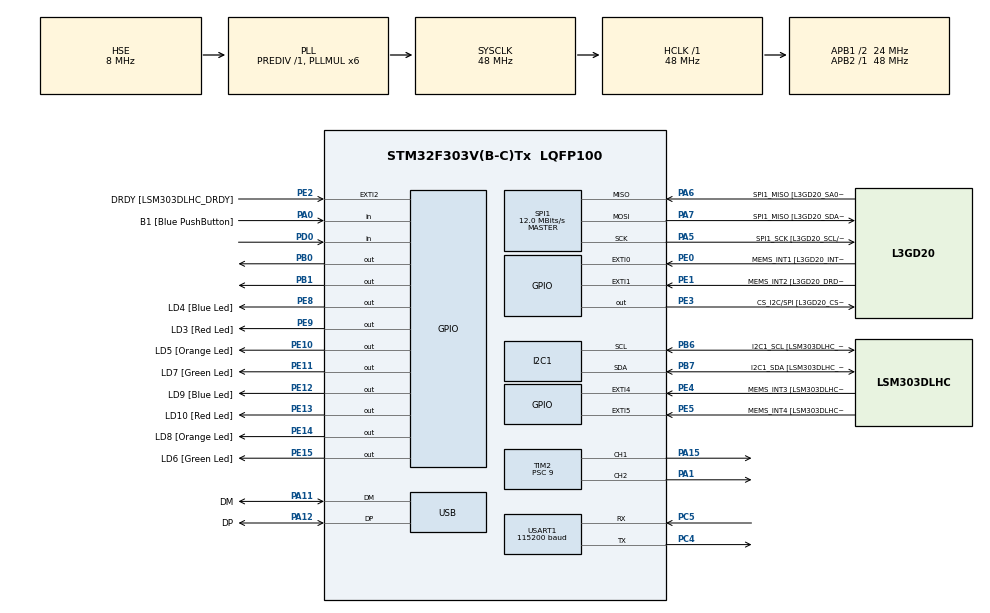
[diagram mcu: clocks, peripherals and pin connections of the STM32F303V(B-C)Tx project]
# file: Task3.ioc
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I2C1.Timing=0x2000090E
I2C1.Timing-I2C=0x2000090E
Mcu.Family=STM32F3
Mcu.Name=STM32F303V(B-C)Tx
Mcu.Package=LQFP100
NVIC.PriorityGroup=NVIC_PRIORITYGROUP_0
PA0.GPIO_Label=B1 [Blue PushButton]
PA0.Signal=GPIO_Input
PA1.Signal=S_TIM2_CH2
PA11.GPIO_Label=DM
PA11.Mode=Device
PA11.Signal=USB_DM
PA12.GPIO_Label=DP
PA12.Mode=Device
PA12.Signal=USB_DP
PA13.GPIO_Label=SWDIO
PA13.Mode=Serial_Wire
PA13.Signal=SYS_JTMS-SWDIO
PA14.GPIO_Label=SWCLK
PA14.Mode=Serial_Wire
PA14.Signal=SYS_JTCK-SWCLK
PA15.Signal=S_TIM2_CH1_ETR
PA5.GPIO_Label=SPI1_SCK [L3GD20_SCL/SPC]
PA5.Mode=Full_Duplex_Master
PA5.Signal=SPI1_SCK
PA6.GPIO_Label=SPI1_MISO [L3GD20_SA0/SDO]
PA6.Mode=Full_Duplex_Master
PA6.Signal=SPI1_MISO
PA7.GPIO_Label=SPI1_MISO [L3GD20_SDA/SDI/SDO]
PA7.Mode=Full_Duplex_Master
PA7.Signal=SPI1_MOSI
PB0.Signal=GPIO_Output
PB1.Signal=GPIO_Output
PB3.GPIO_Label=SWO
PB3.Signal=SYS_JTDO-TRACESWO
PB6.GPIO_Label=I2C1_SCL [LSM303DLHC_SCL]
PB6.GPIO_Pu=GPIO_PULLUP
PB6.Mode=I2C
PB6.Signal=I2C1_SCL
PB7.GPIO_Label=I2C1_SDA [LSM303DLHC_SDA]
PB7.GPIO_Pu=GPIO_PULLUP
PB7.Mode=I2C
PB7.Signal=I2C1_SDA
PC14-OSC32_IN.GPIO_Label=OSC32_IN
PC14-OSC32_IN.Signal=RCC_OSC32_IN
PC15-OSC32_OUT.GPIO_Label=OSC32_OUT
PC15-OSC32_OUT.Signal=RCC_OSC32_OUT
PC4.Mode=Asynchronous
PC4.Signal=USART1_TX
PC5.Mode=Asynchronous
PC5.Signal=USART1_RX
PD0.Signal=GPIO_Input
PE0.GPIO_Label=MEMS_INT1 [L3GD20_INT1]
PE0.GPIO_ModeDefaultEXTI=GPIO_MODE_EVT_RISING
PE0.Signal=GPXTI0
PE1.GPIO_Label=MEMS_INT2 [L3GD20_DRDY/INT2]
PE1.GPIO_ModeDefaultEXTI=GPIO_MODE_EVT_RISING
PE1.Signal=GPXTI1
PE10.GPIO_Label=LD5 [Orange Led]
PE10.Signal=GPIO_Output
PE11.GPIO_Label=LD7 [Green Led]
PE11.Signal=GPIO_Output
PE12.GPIO_Label=LD9 [Blue Led]
PE12.Signal=GPIO_Output
PE13.GPIO_Label=LD10 [Red Led]
PE13.Signal=GPIO_Output
PE14.GPIO_Label=LD8 [Orange Led]
PE14.Signal=GPIO_Output
PE15.GPIO_Label=LD6 [Green Led]
PE15.Signal=GPIO_Output
PE2.GPIO_Label=DRDY [LSM303DLHC_DRDY]
PE2.GPIO_ModeDefaultEXTI=GPIO_MODE_EVT_RISING
PE2.Signal=GPXTI2
PE3.GPIO_Label=CS_I2C/SPI [L3GD20_CS_I2C/SPI]
PE3.Signal=GPIO_Output
PE4.GPIO_Label=MEMS_INT3 [LSM303DLHC_INT1]
PE4.GPIO_ModeDefaultEXTI=GPIO_MODE_EVT_RISING
PE4.Signal=GPXTI4
PE5.GPIO_Label=MEMS_INT4 [LSM303DLHC_INT2]
PE5.GPIO_ModeDefaultEXTI=GPIO_MODE_EVT_RISING
PE5.Signal=GPXTI5
PE8.GPIO_Label=LD4 [Blue Led]
PE8.Signal=GPIO_Output
PE9.GPIO_Label=LD3 [Red Led]
PE9.Signal=GPIO_Output
PF0-OSC_IN.GPIO_Label=OSC_IN
PF0-OSC_IN.Mode=HSE-External-Clock-Source
PF0-OSC_IN.Signal=RCC_OSC_IN
PF1-OSC_OUT.GPIO_Label=OSC_OUT
PF1-OSC_OUT.Signal=RCC_OSC_OUT
ProjectManager.HeapSize=0x200
ProjectManager.StackSize=0x400
ProjectManager.TargetToolchain=CMake
RCC.AHBFreq_Value=48000000
RCC.APB1CLKDivider=RCC_HCLK_DIV2
RCC.APB1Freq_Value=24000000
RCC.APB1TimFreq_Value=48000000
RCC.APB2Freq_Value=48000000
RCC.APB2TimFreq_Value=48000000
RCC.CortexFreq_Value=48000000
RCC.HCLKFreq_Value=48000000
RCC.HSE_VALUE=8000000
RCC.HSI_VALUE=8000000
RCC.LSE_VALUE=32768
RCC.PLLMUL=RCC_PLL_MUL6
RCC.SYSCLKFreq_VALUE=48000000
RCC.SYSCLKSourceVirtual=RCC_SYSCLKSOURCE_PLLCLK
RCC.USBFreq_Value=48000000
SH.S_TIM2_CH1_ETR.0=TIM2_CH1,PWM Generation1 CH1
SH.S_TIM2_CH2.0=TIM2_CH2,PWM Generation2 CH2
SPI1.BaudRatePrescaler=SPI_BAUDRATEPRESCALER_4
SPI1.BaudRatePrescaler-Full_Duplex_Master=SPI_BAUDRATEPRESCALER_2
SPI1.CalculateBaudRate=12.0 MBits/s
SPI1.CalculateBaudRate-Full_Duplex_Master=24.0 MBits/s
SPI1.Direction=SPI_DIRECTION_2LINES
SPI1.Mode=SPI_MODE_MASTER
SPI1.Mode-Full_Duplex_Master=SPI_MODE_MASTER
SPI1.VirtualType=VM_MASTER
TIM2.Channel-PWM\ Generation1\ CH1=TIM_CHANNEL_1
TIM2.Channel-PWM\ Generation2\ CH2=TIM_CHANNEL_2
TIM2.Period=999
TIM2.Prescaler=9
TIM3.Prescaler=47
USART1.BaudRate=115200
USART1.VirtualMode-Asynchronous=VM_ASYNC
VP_TIM2_VS_ClockSourceINT.Mode=Internal
VP_TIM3_VS_ClockSourceINT.Mode=Internal
board=STM32F3DISCOVERY

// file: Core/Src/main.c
/* USER CODE BEGIN Header */
/**
  ******************************************************************************
  * @file           : main.c
  * @brief          : Main program body
  ******************************************************************************
  * @attention
  *
  * Copyright (c) 2026 STMicroelectronics.
  * All rights reserved.
  *
  * This software is licensed under terms that can be found in the LICENSE file
  * in the root directory of this software component.
  * If no LICENSE file comes with this software, it is provided AS-IS.
  *
  ******************************************************************************
  */
/* USER CODE END Header */
#include "main.h"

/* USER CODE BEGIN Includes */
#include <stdio.h>
#include <string.h>
#include <stdint.h>
/* USER CODE END Includes */

/* USER CODE BEGIN PD */
#define SAMPLE_SIZE 10
#define PPR 330.0f
/* USER CODE END PD */

I2C_HandleTypeDef hi2c1;

SPI_HandleTypeDef hspi1;

TIM_HandleTypeDef htim2;
TIM_HandleTypeDef htim3;

UART_HandleTypeDef huart1;

PCD_HandleTypeDef hpcd_USB_FS;

/* USER CODE BEGIN PV */
uint32_t captured_ticks = 0;
float signal_frequency = 0.0;
float motor_rpm = 0.0;

/* USER CODE END PV */

void SystemClock_Config(void);
static void MX_GPIO_Init(void);
static void MX_I2C1_Init(void);
static void MX_SPI1_Init(void);
static void MX_TIM3_Init(void);
static void MX_USART1_UART_Init(void);
static void MX_USB_PCD_Init(void);
static void MX_TIM2_Init(void);

int main(void)
{

  /* MCU Configuration--------------------------------------------------------*/

  /* Reset of all peripherals, Initializes the Flash interface and the Systick. */
  HAL_Init();

  /* Configure the system clock */
  SystemClock_Config();

  /* Initialize all configured peripherals */
  MX_GPIO_Init();
  MX_I2C1_Init();
  MX_SPI1_Init();
  MX_TIM3_Init();
  MX_USART1_UART_Init();
  MX_USB_PCD_Init();
  MX_TIM2_Init();
  /* USER CODE BEGIN 2 */
  HAL_TIM_PWM_Start(&htim2, TIM_CHANNEL_1);
  HAL_TIM_PWM_Start(&htim2, TIM_CHANNEL_2);

  __HAL_TIM_SET_COMPARE(&htim2, TIM_CHANNEL_1, 999);
  __HAL_TIM_SET_COMPARE(&htim2, TIM_CHANNEL_2, 500);

  HAL_GPIO_WritePin(GPIOB, GPIO_PIN_1, GPIO_PIN_SET);
  HAL_GPIO_WritePin(GPIOB, GPIO_PIN_0, GPIO_PIN_RESET);
/* USER CODE END 2 */

  /* Infinite loop */
  /* USER CODE BEGIN WHILE */
  while (1)
  {
    float sum = 0;

    for (int i = 0; i < SAMPLE_SIZE; i++)
    {
        while (HAL_GPIO_ReadPin(GPIOD, GPIO_PIN_0) == GPIO_PIN_RESET);
        while (HAL_GPIO_ReadPin(GPIOD, GPIO_PIN_0) == GPIO_PIN_SET);

        __HAL_TIM_SET_COUNTER(&htim3, 0);
        HAL_TIM_Base_Start(&htim3);

        while (HAL_GPIO_ReadPin(GPIOD, GPIO_PIN_0) == GPIO_PIN_RESET);
        while (HAL_GPIO_ReadPin(GPIOD, GPIO_PIN_0) == GPIO_PIN_SET);

        HAL_TIM_Base_Stop(&htim3);

        uint32_t ticks = __HAL_TIM_GET_COUNTER(&htim3);

        if (ticks != 0)
        {
            sum += 1000000.0f / (float)ticks;
        }
    }

    float freq = sum / SAMPLE_SIZE;
    float rpm = (60.0f * freq) / PPR;

    char buffer[100];
    int len = snprintf(buffer, sizeof(buffer), "Frequency: %.2f Hz, RPM: %.2f\r\n", freq, rpm);
    HAL_UART_Transmit(&huart1, (uint8_t *)buffer, (uint16_t)len, HAL_MAX_DELAY);

    HAL_Delay(10);

    /* USER CODE END WHILE */

  }
}

void SystemClock_Config(void)
{
  RCC_OscInitTypeDef RCC_OscInitStruct = {0};
  RCC_ClkInitTypeDef RCC_ClkInitStruct = {0};
  RCC_PeriphCLKInitTypeDef PeriphClkInit = {0};

  /** Initializes the RCC Oscillators according to the specified parameters
  * in the RCC_OscInitTypeDef structure.
  */
  RCC_OscInitStruct.OscillatorType = RCC_OSCILLATORTYPE_HSI|RCC_OSCILLATORTYPE_HSE;
  RCC_OscInitStruct.HSEState = RCC_HSE_BYPASS;
  RCC_OscInitStruct.HSEPredivValue = RCC_HSE_PREDIV_DIV1;
  RCC_OscInitStruct.HSIState = RCC_HSI_ON;
  RCC_OscInitStruct.HSICalibrationValue = RCC_HSICALIBRATION_DEFAULT;
  RCC_OscInitStruct.PLL.PLLState = RCC_PLL_ON;
  RCC_OscInitStruct.PLL.PLLSource = RCC_PLLSOURCE_HSE;
  RCC_OscInitStruct.PLL.PLLMUL = RCC_PLL_MUL6;
  if (HAL_RCC_OscConfig(&RCC_OscInitStruct) != HAL_OK)
  {
    Error_Handler();
  }

  /** Initializes the CPU, AHB and APB buses clocks
  */
  RCC_ClkInitStruct.ClockType = RCC_CLOCKTYPE_HCLK|RCC_CLOCKTYPE_SYSCLK
                              |RCC_CLOCKTYPE_PCLK1|RCC_CLOCKTYPE_PCLK2;
  RCC_ClkInitStruct.SYSCLKSource = RCC_SYSCLKSOURCE_PLLCLK;
  RCC_ClkInitStruct.AHBCLKDivider = RCC_SYSCLK_DIV1;
  RCC_ClkInitStruct.APB1CLKDivider = RCC_HCLK_DIV2;
  RCC_ClkInitStruct.APB2CLKDivider = RCC_HCLK_DIV1;

  if (HAL_RCC_ClockConfig(&RCC_ClkInitStruct, FLASH_LATENCY_1) != HAL_OK)
  {
    Error_Handler();
  }
  PeriphClkInit.PeriphClockSelection = RCC_PERIPHCLK_USB|RCC_PERIPHCLK_USART1
                              |RCC_PERIPHCLK_I2C1;
  PeriphClkInit.Usart1ClockSelection = RCC_USART1CLKSOURCE_PCLK2;
  PeriphClkInit.I2c1ClockSelection = RCC_I2C1CLKSOURCE_HSI;
  PeriphClkInit.USBClockSelection = RCC_USBCLKSOURCE_PLL;
  if (HAL_RCCEx_PeriphCLKConfig(&PeriphClkInit) != HAL_OK)
  {
    Error_Handler();
  }
}

static void MX_I2C1_Init(void)
{

  hi2c1.Instance = I2C1;
  hi2c1.Init.Timing = 0x2000090E;
  hi2c1.Init.OwnAddress1 = 0;
  hi2c1.Init.AddressingMode = I2C_ADDRESSINGMODE_7BIT;
  hi2c1.Init.DualAddressMode = I2C_DUALADDRESS_DISABLE;
  hi2c1.Init.OwnAddress2 = 0;
  hi2c1.Init.OwnAddress2Masks = I2C_OA2_NOMASK;
  hi2c1.Init.GeneralCallMode = I2C_GENERALCALL_DISABLE;
  hi2c1.Init.NoStretchMode = I2C_NOSTRETCH_DISABLE;
  if (HAL_I2C_Init(&hi2c1) != HAL_OK)
  {
    Error_Handler();
  }

  /** Configure Analogue filter
  */
  if (HAL_I2CEx_ConfigAnalogFilter(&hi2c1, I2C_ANALOGFILTER_ENABLE) != HAL_OK)
  {
    Error_Handler();
  }

  /** Configure Digital filter
  */
  if (HAL_I2CEx_ConfigDigitalFilter(&hi2c1, 0) != HAL_OK)
  {
    Error_Handler();
  }

}

static void MX_SPI1_Init(void)
{

  /* SPI1 parameter configuration*/
  hspi1.Instance = SPI1;
  hspi1.Init.Mode = SPI_MODE_MASTER;
  hspi1.Init.Direction = SPI_DIRECTION_2LINES;
  hspi1.Init.DataSize = SPI_DATASIZE_4BIT;
  hspi1.Init.CLKPolarity = SPI_POLARITY_LOW;
  hspi1.Init.CLKPhase = SPI_PHASE_1EDGE;
  hspi1.Init.NSS = SPI_NSS_SOFT;
  hspi1.Init.BaudRatePrescaler = SPI_BAUDRATEPRESCALER_4;
  hspi1.Init.FirstBit = SPI_FIRSTBIT_MSB;
  hspi1.Init.TIMode = SPI_TIMODE_DISABLE;
  hspi1.Init.CRCCalculation = SPI_CRCCALCULATION_DISABLE;
  hspi1.Init.CRCPolynomial = 7;
  hspi1.Init.CRCLength = SPI_CRC_LENGTH_DATASIZE;
  hspi1.Init.NSSPMode = SPI_NSS_PULSE_ENABLE;
  if (HAL_SPI_Init(&hspi1) != HAL_OK)
  {
    Error_Handler();
  }

}

static void MX_TIM2_Init(void)
{

  TIM_ClockConfigTypeDef sClockSourceConfig = {0};
  TIM_MasterConfigTypeDef sMasterConfig = {0};
  TIM_OC_InitTypeDef sConfigOC = {0};

  htim2.Instance = TIM2;
  htim2.Init.Prescaler = 9;
  htim2.Init.CounterMode = TIM_COUNTERMODE_UP;
  htim2.Init.Period = 999;
  htim2.Init.ClockDivision = TIM_CLOCKDIVISION_DIV1;
  htim2.Init.AutoReloadPreload = TIM_AUTORELOAD_PRELOAD_DISABLE;
  if (HAL_TIM_Base_Init(&htim2) != HAL_OK)
  {
    Error_Handler();
  }
  sClockSourceConfig.ClockSource = TIM_CLOCKSOURCE_INTERNAL;
  if (HAL_TIM_ConfigClockSource(&htim2, &sClockSourceConfig) != HAL_OK)
  {
    Error_Handler();
  }
  if (HAL_TIM_PWM_Init(&htim2) != HAL_OK)
  {
    Error_Handler();
  }
  sMasterConfig.MasterOutputTrigger = TIM_TRGO_RESET;
  sMasterConfig.MasterSlaveMode = TIM_MASTERSLAVEMODE_DISABLE;
  if (HAL_TIMEx_MasterConfigSynchronization(&htim2, &sMasterConfig) != HAL_OK)
  {
    Error_Handler();
  }
  sConfigOC.OCMode = TIM_OCMODE_PWM1;
  sConfigOC.Pulse = 0;
  sConfigOC.OCPolarity = TIM_OCPOLARITY_HIGH;
  sConfigOC.OCFastMode = TIM_OCFAST_DISABLE;
  if (HAL_TIM_PWM_ConfigChannel(&htim2, &sConfigOC, TIM_CHANNEL_1) != HAL_OK)
  {
    Error_Handler();
  }
  if (HAL_TIM_PWM_ConfigChannel(&htim2, &sConfigOC, TIM_CHANNEL_2) != HAL_OK)
  {
    Error_Handler();
  }
  HAL_TIM_MspPostInit(&htim2);

}

static void MX_TIM3_Init(void)
{

  TIM_ClockConfigTypeDef sClockSourceConfig = {0};
  TIM_MasterConfigTypeDef sMasterConfig = {0};

  htim3.Instance = TIM3;
  htim3.Init.Prescaler = 47;
  htim3.Init.CounterMode = TIM_COUNTERMODE_UP;
  htim3.Init.Period = 65535;
  htim3.Init.ClockDivision = TIM_CLOCKDIVISION_DIV1;
  htim3.Init.AutoReloadPreload = TIM_AUTORELOAD_PRELOAD_DISABLE;
  if (HAL_TIM_Base_Init(&htim3) != HAL_OK)
  {
    Error_Handler();
  }
  sClockSourceConfig.ClockSource = TIM_CLOCKSOURCE_INTERNAL;
  if (HAL_TIM_ConfigClockSource(&htim3, &sClockSourceConfig) != HAL_OK)
  {
    Error_Handler();
  }
  sMasterConfig.MasterOutputTrigger = TIM_TRGO_RESET;
  sMasterConfig.MasterSlaveMode = TIM_MASTERSLAVEMODE_DISABLE;
  if (HAL_TIMEx_MasterConfigSynchronization(&htim3, &sMasterConfig) != HAL_OK)
  {
    Error_Handler();
  }

}

static void MX_USART1_UART_Init(void)
{

  huart1.Instance = USART1;
  huart1.Init.BaudRate = 115200;
  huart1.Init.WordLength = UART_WORDLENGTH_8B;
  huart1.Init.StopBits = UART_STOPBITS_1;
  huart1.Init.Parity = UART_PARITY_NONE;
  huart1.Init.Mode = UART_MODE_TX_RX;
  huart1.Init.HwFlowCtl = UART_HWCONTROL_NONE;
  huart1.Init.OverSampling = UART_OVERSAMPLING_16;
  huart1.Init.OneBitSampling = UART_ONE_BIT_SAMPLE_DISABLE;
  huart1.AdvancedInit.AdvFeatureInit = UART_ADVFEATURE_NO_INIT;
  if (HAL_UART_Init(&huart1) != HAL_OK)
  {
    Error_Handler();
  }

}

static void MX_USB_PCD_Init(void)
{

  hpcd_USB_FS.Instance = USB;
  hpcd_USB_FS.Init.dev_endpoints = 8;
  hpcd_USB_FS.Init.speed = PCD_SPEED_FULL;
  hpcd_USB_FS.Init.phy_itface = PCD_PHY_EMBEDDED;
  hpcd_USB_FS.Init.low_power_enable = DISABLE;
  hpcd_USB_FS.Init.battery_charging_enable = DISABLE;
  if (HAL_PCD_Init(&hpcd_USB_FS) != HAL_OK)
  {
    Error_Handler();
  }

}

static void MX_GPIO_Init(void)
{
  GPIO_InitTypeDef GPIO_InitStruct = {0};

  /* GPIO Ports Clock Enable */
  __HAL_RCC_GPIOE_CLK_ENABLE();
  __HAL_RCC_GPIOC_CLK_ENABLE();
  __HAL_RCC_GPIOF_CLK_ENABLE();
  __HAL_RCC_GPIOA_CLK_ENABLE();
  __HAL_RCC_GPIOB_CLK_ENABLE();
  __HAL_RCC_GPIOD_CLK_ENABLE();

  /*Configure GPIO pin Output Level */
  HAL_GPIO_WritePin(GPIOE, CS_I2C_SPI_Pin|LD4_Pin|LD3_Pin|LD5_Pin
                          |LD7_Pin|LD9_Pin|LD10_Pin|LD8_Pin
                          |LD6_Pin, GPIO_PIN_RESET);

  /*Configure GPIO pin Output Level */
  HAL_GPIO_WritePin(GPIOB, GPIO_PIN_0|GPIO_PIN_1, GPIO_PIN_RESET);

  /*Configure GPIO pins : DRDY_Pin MEMS_INT3_Pin MEMS_INT4_Pin MEMS_INT1_Pin
                           MEMS_INT2_Pin */
  GPIO_InitStruct.Pin = DRDY_Pin|MEMS_INT3_Pin|MEMS_INT4_Pin|MEMS_INT1_Pin
                          |MEMS_INT2_Pin;
  GPIO_InitStruct.Mode = GPIO_MODE_EVT_RISING;
  GPIO_InitStruct.Pull = GPIO_NOPULL;
  HAL_GPIO_Init(GPIOE, &GPIO_InitStruct);

  /*Configure GPIO pins : CS_I2C_SPI_Pin LD4_Pin LD3_Pin LD5_Pin
                           LD7_Pin LD9_Pin LD10_Pin LD8_Pin
                           LD6_Pin */
  GPIO_InitStruct.Pin = CS_I2C_SPI_Pin|LD4_Pin|LD3_Pin|LD5_Pin
                          |LD7_Pin|LD9_Pin|LD10_Pin|LD8_Pin
                          |LD6_Pin;
  GPIO_InitStruct.Mode = GPIO_MODE_OUTPUT_PP;
  GPIO_InitStruct.Pull = GPIO_NOPULL;
  GPIO_InitStruct.Speed = GPIO_SPEED_FREQ_LOW;
  HAL_GPIO_Init(GPIOE, &GPIO_InitStruct);

  /*Configure GPIO pin : B1_Pin */
  GPIO_InitStruct.Pin = B1_Pin;
  GPIO_InitStruct.Mode = GPIO_MODE_INPUT;
  GPIO_InitStruct.Pull = GPIO_NOPULL;
  HAL_GPIO_Init(B1_GPIO_Port, &GPIO_InitStruct);

  /*Configure GPIO pins : PB0 PB1 */
  GPIO_InitStruct.Pin = GPIO_PIN_0|GPIO_PIN_1;
  GPIO_InitStruct.Mode = GPIO_MODE_OUTPUT_PP;
  GPIO_InitStruct.Pull = GPIO_NOPULL;
  GPIO_InitStruct.Speed = GPIO_SPEED_FREQ_LOW;
  HAL_GPIO_Init(GPIOB, &GPIO_InitStruct);

  /*Configure GPIO pin : PD0 */
  GPIO_InitStruct.Pin = GPIO_PIN_0;
  GPIO_InitStruct.Mode = GPIO_MODE_INPUT;
  GPIO_InitStruct.Pull = GPIO_NOPULL;
  HAL_GPIO_Init(GPIOD, &GPIO_InitStruct);

}

void Error_Handler(void)
{
  __disable_irq();
  while (1)
  {
  }
}
